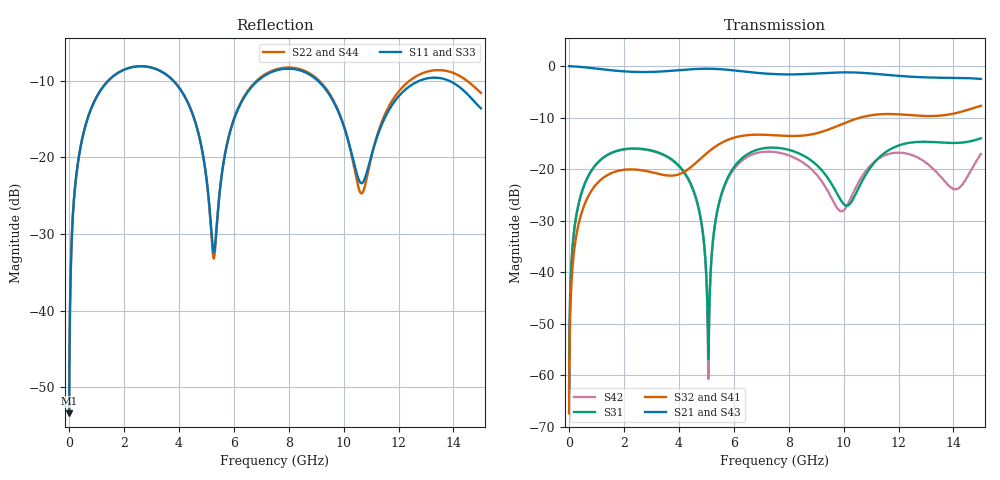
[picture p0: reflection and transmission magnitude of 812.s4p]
! Created with skrf 1.8.0 (http://scikit-rf.org).
# GHz S RI R 50.0
!freq ReS11 ImS11 ReS12 ImS12 ReS13 ImS13
! ReS14 ImS14
! ReS21 ImS21 ReS22 ImS22 ReS23 ImS23
! ReS24 ImS24
! ReS31 ImS31 ReS32 ImS32 ReS33 ImS33
! ReS34 ImS34
! ReS41 ImS41 ReS42 ImS42 ReS43 ImS43
! ReS44 ImS44
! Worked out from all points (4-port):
!   2499 points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, 5 MHz to 15 GHz, reference 50 ohm
!   strongest paths, dB at 5 MHz, 3.476 GHz, 7.19 GHz, 11.1 GHz, 15 GHz:
!     S21: 0.0, -1.0, -1.5, -1.5, -2.5
!     S43: 0.0, -1.0, -1.5, -1.5, -2.5
!     S32: -67.4, -21.1, -13.3, -9.5, -7.7
!     S41: -67.4, -21.1, -13.3, -9.5, -7.7
!     S31: -63.4, -17.3, -15.9, -18.8, -14.0
!     S42: -63.4, -17.3, -16.6, -18.7, -17.0
!   lowest |S11| = -53.4 dB at 5 MHz (marker M1), VSWR 1.00, Z = 50.2 + j0.13 ohm
!   |S11| at or under -10 dB: start of sweep to 1.436 GHz; 3.794 GHz to 6.881 GHz (3.087 GHz wide, 57.8 % of centre); 9.059 GHz to 12.77 GHz (3.716 GHz wide, 34 % of centre) (the widest 3 of 4)
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0.005  0.0017 0.00129  0.9983 -0.00331  8.54e-05 0.00067  -8.29e-05 -0.000421
       0.9983 -0.00331  0.0017 0.00129  -8.29e-05 -0.000421  8.54e-05 0.00067
       8.54e-05 0.00067  -8.29e-05 -0.000421  0.0017 0.00129  0.9983 -0.00331
       -8.29e-05 -0.000421  8.54e-05 0.00067  0.9983 -0.00331  0.0017 0.00129
0.3126303  0.0255 0.0847  0.9651 -0.2055  0.0118 0.0396  -0.00975 -0.0246
           0.9651 -0.2055  0.0255 0.0847  -0.00975 -0.0246  0.0116 0.0396
           0.0118 0.0396  -0.00975 -0.0246  0.0255 0.0847  0.9651 -0.2055
           -0.00975 -0.0246  0.0116 0.0396  0.9651 -0.2055  0.0255 0.0847
1.519383  0.2748 0.1771  0.5391 -0.7355  0.1303 0.0589  -0.0909 -0.00444
          0.5391 -0.7355  0.2754 0.1766  -0.0909 -0.00442  0.1286 0.0611
          0.1303 0.0589  -0.0909 -0.00442  0.2748 0.177  0.5391 -0.7354
          -0.0909 -0.00444  0.1286 0.0611  0.5391 -0.7354  0.2754 0.1766
5.070863  0.0299 -0.0493  -0.9236 -0.1892  0.00131 -0.001  -0.025 0.1446
          -0.9236 -0.1892  0.0276 -0.0495  -0.0247 0.1447  -0.000906 -0.000415
          0.00131 -0.001  -0.0247 0.1447  0.0296 -0.0481  -0.9238 -0.189
          -0.025 0.1446  -0.000906 -0.000415  -0.9238 -0.189  0.0274 -0.0483
6.252605  0.148 0.1679  -0.7705 0.4521  0.1094 0.0588  0.1315 0.1629
          -0.7705 0.4521  0.1496 0.1705  0.1318 0.1628  0.0975 0.0668
          0.1094 0.0588  0.1318 0.1628  0.1486 0.1694  -0.7701 0.452
          0.1315 0.1629  0.0975 0.0668  -0.7701 0.452  0.1507 0.1717
10.62943  0.0675 -0.00727  0.8548 0.1082  -0.00201 0.0727  0.0351 -0.3161
          0.8548 0.1082  0.0579 -0.00688  0.0333 -0.3158  -0.0082 0.0812
          -0.00201 0.0727  0.0333 -0.3158  0.0725 -0.0119  0.8543 0.1119
          0.0351 -0.3161  -0.0082 0.0812  0.8543 0.1119  0.0541 -0.0122
15  0.2046 -0.0405  -0.5563 -0.5038  -0.1991 -0.0052  -0.3002 0.2824
    -0.5563 -0.5038  0.2398 -0.1075  -0.2986 0.2835  -0.1052 0.0933
    -0.1991 -0.0052  -0.2986 0.2835  0.2004 -0.0372  -0.5555 -0.507
    -0.3002 0.2824  -0.1052 0.0933  -0.5555 -0.507  0.2366 -0.1013
